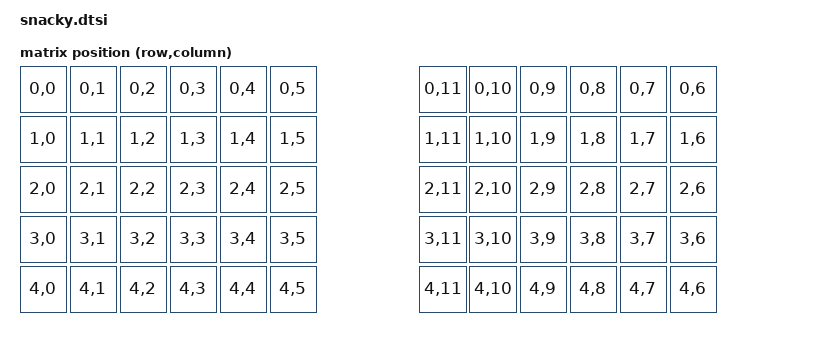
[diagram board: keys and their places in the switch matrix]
#include <dt-bindings/zmk/matrix_transform.h>

/ {
    chosen {
        zmk,physical-layout = &physical_layout0;
        zmk,kscan = &kscan0;
        zmk,matrix-transform = &default_transform;
    };

    physical_layout0: physical_layout0 {
        compatible = "zmk,physical-layout";
        display-name = "Default Layout";
        kscan = <&kscan0>;
        transform = <&default_transform>;
    };

    // 通常のGPIOマトリクス(charlieplexではない)。
    // 応答性・低消費電力の検証の結果、charlieplexの本質的なメリットは
    // 「省ピン化」であって応答性/低電力そのものではないと判明したため、
    // ブレッドボードテストで実際に動作確認済みの col2row マトリクス方式を採用。
    // 片手: 列(col, 出力)6本 + 行(row, 入力/割り込み)5本 = 11本(XIAOの全GPIO)。
    // 6列 x 5行 = 30セルが、11本のGPIOで作れる電気マトリクスの理論上の
    // 最大サイズ(6+5=11という配分が最も効率が良い)。
    //
    // 各行6キー x 5行 = 30キー/片手(row4は親指の段)。
    // 合計: 30 x 2 = 60キー。30セルの電気マトリクスをそのまま使う。
    default_transform: keymap_transform0 {
        compatible = "zmk,matrix-transform";
        columns = <12>;
        rows = <5>;
        // keymapのbindingsと同じく「行ごとに 左手 → 右手」の順で並べる。
        // (bindingsのn番目がこのmapのn番目に対応するため、左手30キー →
        //  右手30キーの順で書くと左右が混ざってしまう)
        // 右手は col-offset = 6 加算後のアドレス。
        // 右手の基板は左手と鏡写しに配線されている(col0が小指側=外側)ため、
        // 右手側は列番号を逆順(内側のcol5=11 → 外側のcol0=6)に並べる。
        map = <
            RC(0,0) RC(0,1) RC(0,2) RC(0,3) RC(0,4) RC(0,5)                    RC(0,11) RC(0,10) RC(0,9) RC(0,8) RC(0,7) RC(0,6)
            RC(1,0) RC(1,1) RC(1,2) RC(1,3) RC(1,4) RC(1,5)                    RC(1,11) RC(1,10) RC(1,9) RC(1,8) RC(1,7) RC(1,6)
            RC(2,0) RC(2,1) RC(2,2) RC(2,3) RC(2,4) RC(2,5)                    RC(2,11) RC(2,10) RC(2,9) RC(2,8) RC(2,7) RC(2,6)
            RC(3,0) RC(3,1) RC(3,2) RC(3,3) RC(3,4) RC(3,5)                    RC(3,11) RC(3,10) RC(3,9) RC(3,8) RC(3,7) RC(3,6)
            RC(4,0) RC(4,1) RC(4,2) RC(4,3) RC(4,4) RC(4,5)                    RC(4,11) RC(4,10) RC(4,9) RC(4,8) RC(4,7) RC(4,6)
        >;
    };

    kscan0: kscan0 {
        compatible = "zmk,kscan-gpio-matrix";
        wakeup-source;
        diode-direction = "col2row";
    };
};
